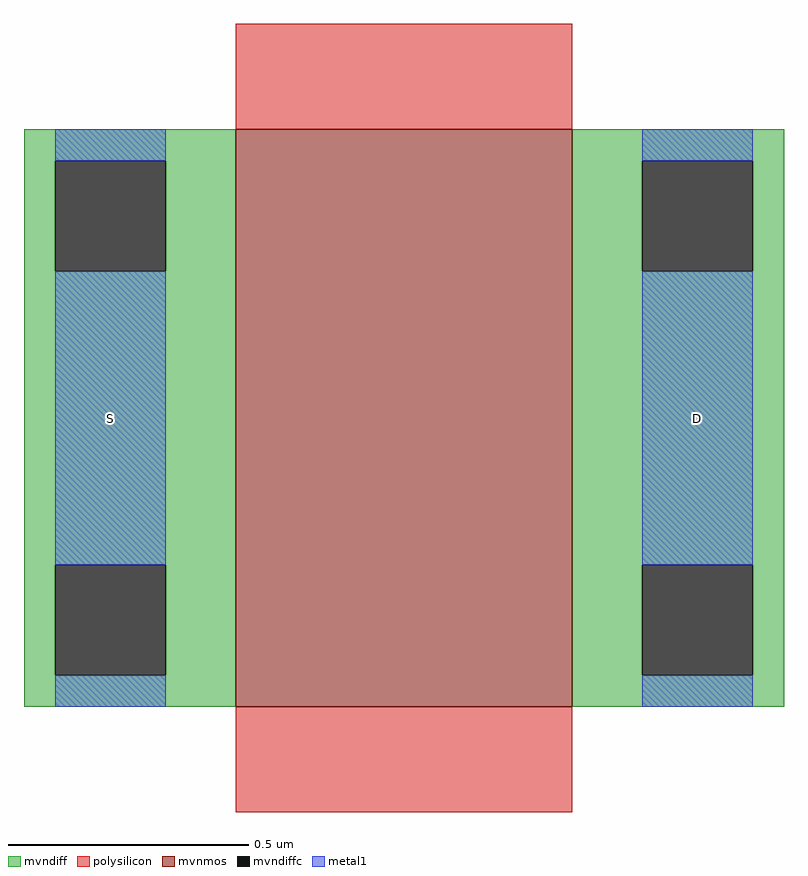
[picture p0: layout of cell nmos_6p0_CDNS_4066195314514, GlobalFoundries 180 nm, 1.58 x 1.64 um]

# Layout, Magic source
magic
tech gf180mcuD
magscale 1 10
<< mvnmos >>
rect 0 0 140 240
<< mvndiff >>
rect -88 227 0 240
rect -88 181 -75 227
rect -29 181 0 227
rect -88 59 0 181
rect -88 13 -75 59
rect -29 13 0 59
rect -88 0 0 13
rect 140 227 228 240
rect 140 181 169 227
rect 215 181 228 227
rect 140 59 228 181
rect 140 13 169 59
rect 215 13 228 59
rect 140 0 228 13
<< mvndiffc >>
rect -75 181 -29 227
rect -75 13 -29 59
rect 169 181 215 227
rect 169 13 215 59
<< polysilicon >>
rect 0 240 140 284
rect 0 -44 140 0
<< metal1 >>
rect -75 227 -29 240
rect -75 59 -29 181
rect -75 0 -29 13
rect 169 227 215 240
rect 169 59 215 181
rect 169 0 215 13
<< labels >>
rlabel metal1 192 120 192 120 4 D
rlabel metal1 -52 120 -52 120 4 S
<< end >>
